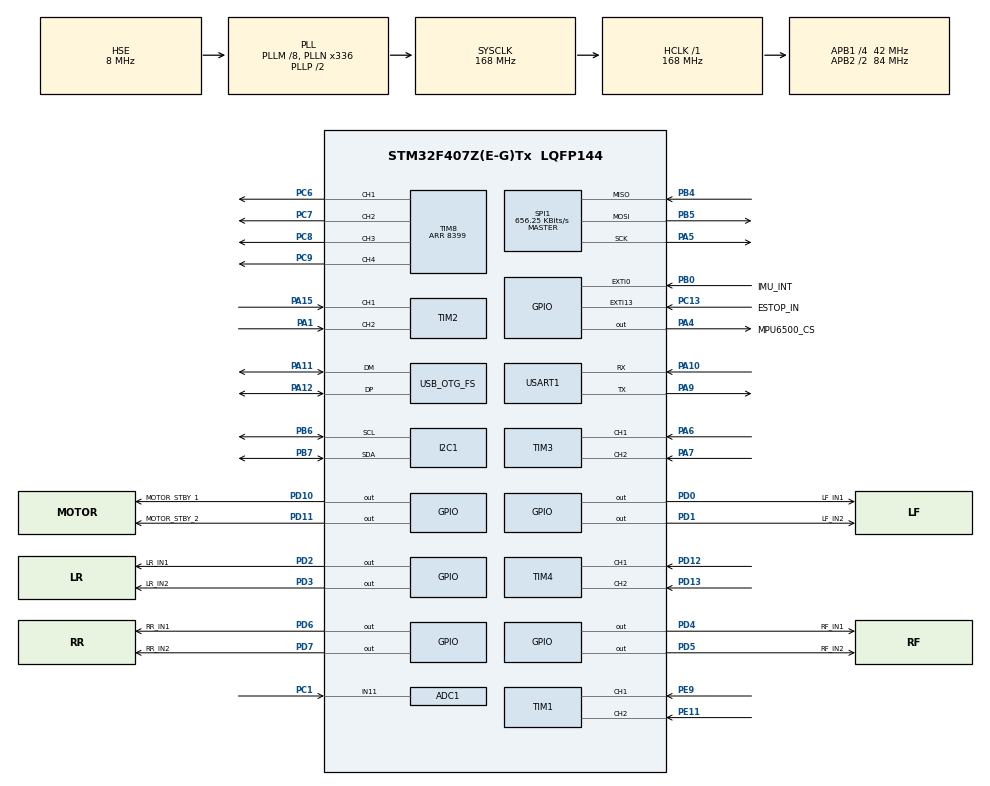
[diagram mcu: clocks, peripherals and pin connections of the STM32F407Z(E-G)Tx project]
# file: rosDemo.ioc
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ADC1.Channel-2\#ChannelRegularConversion=ADC_CHANNEL_11
ADC1.NbrOfConversionFlag=1
ADC1.Rank-2\#ChannelRegularConversion=1
ADC1.SamplingTime-2\#ChannelRegularConversion=ADC_SAMPLETIME_144CYCLES
ADC1.master=1
FREERTOS.Tasks01=systemInitTask,32,256,StartSystemInitTask,Default,NULL,Dynamic,NULL,NULL;motorTask,40,512,StartMotorTask,Default,NULL,Dynamic,NULL,NULL;safetyTask,40,256,StartSafetyTask,Default,NULL,Dynamic,NULL,NULL;imuTask,32,512,StartImuTask,Default,NULL,Dynamic,NULL,NULL;usbRxTask,32,512,StartUsbRxTask,Default,NULL,Dynamic,NULL,NULL;telemetryTask,24,512,StartTelemetryTask,Default,NULL,Dynamic,NULL,NULL;batteryTask,8,256,StartBatteryTask,Default,NULL,Dynamic,NULL,NULL
FREERTOS.configCHECK_FOR_STACK_OVERFLOW=2
FREERTOS.configTOTAL_HEAP_SIZE=32768
FREERTOS.configUSE_MALLOC_FAILED_HOOK=1
IWDG.Prescaler=IWDG_PRESCALER_64
IWDG.Reload=1999
Mcu.Family=STM32F4
Mcu.Name=STM32F407Z(E-G)Tx
Mcu.Package=LQFP144
NVIC.EXTI0_IRQn=true\:6\:0\:true\:false\:true\:true\:true\:true\:true
NVIC.EXTI15_10_IRQn=true\:4\:0\:true\:false\:true\:false\:true\:true\:true
NVIC.OTG_FS_IRQn=true\:5\:0\:false\:false\:true\:true\:false\:true\:true
NVIC.PriorityGroup=NVIC_PRIORITYGROUP_4
NVIC.TIM7_IRQn=true\:15\:0\:false\:false\:true\:false\:false\:true\:true
NVIC.TimeBase=TIM7_IRQn
NVIC.TimeBaseIP=TIM7
PA1.Signal=S_TIM2_CH2
PA10.Mode=Asynchronous
PA10.Signal=USART1_RX
PA11.Mode=Device_Only
PA11.Signal=USB_OTG_FS_DM
PA12.Mode=Device_Only
PA12.Signal=USB_OTG_FS_DP
PA13.Mode=Serial_Wire
PA13.Signal=SYS_JTMS-SWDIO
PA14.Mode=Serial_Wire
PA14.Signal=SYS_JTCK-SWCLK
PA15.Signal=S_TIM2_CH1_ETR
PA4.GPIO_Label=MPU6500_CS
PA4.PinState=GPIO_PIN_SET
PA4.Signal=GPIO_Output
PA5.Mode=Full_Duplex_Master
PA5.Signal=SPI1_SCK
PA6.Signal=S_TIM3_CH1
PA7.Signal=S_TIM3_CH2
PA9.Mode=Asynchronous
PA9.Signal=USART1_TX
PB0.GPIO_Label=IMU_INT
PB0.Signal=GPXTI0
PB4.Mode=Full_Duplex_Master
PB4.Signal=SPI1_MISO
PB5.Mode=Full_Duplex_Master
PB5.Signal=SPI1_MOSI
PB6.Mode=I2C
PB6.Signal=I2C1_SCL
PB7.Mode=I2C
PB7.Signal=I2C1_SDA
PC1.Signal=ADCx_IN11
PC13-ANTI_TAMP.GPIO_Label=ESTOP_IN
PC13-ANTI_TAMP.GPIO_ModeDefaultEXTI=GPIO_MODE_IT_FALLING
PC13-ANTI_TAMP.GPIO_PuPd=GPIO_PULLUP
PC13-ANTI_TAMP.Signal=GPXTI13
PC6.Signal=S_TIM8_CH1
PC7.Signal=S_TIM8_CH2
PC8.Signal=S_TIM8_CH3
PC9.Signal=S_TIM8_CH4
PD0.GPIO_Label=LF_IN1
PD0.Signal=GPIO_Output
PD1.GPIO_Label=LF_IN2
PD1.Signal=GPIO_Output
PD10.GPIO_Label=MOTOR_STBY_1
PD10.Signal=GPIO_Output
PD11.GPIO_Label=MOTOR_STBY_2
PD11.Signal=GPIO_Output
PD12.Signal=S_TIM4_CH1
PD13.Signal=S_TIM4_CH2
PD2.GPIO_Label=LR_IN1
PD2.Signal=GPIO_Output
PD3.GPIO_Label=LR_IN2
PD3.Signal=GPIO_Output
PD4.GPIO_Label=RF_IN1
PD4.Signal=GPIO_Output
PD5.GPIO_Label=RF_IN2
PD5.Signal=GPIO_Output
PD6.GPIO_Label=RR_IN1
PD6.Signal=GPIO_Output
PD7.GPIO_Label=RR_IN2
PD7.Signal=GPIO_Output
PE11.Signal=S_TIM1_CH2
PE9.Signal=S_TIM1_CH1
PH0-OSC_IN.Mode=HSE-External-Oscillator
PH0-OSC_IN.Signal=RCC_OSC_IN
PH1-OSC_OUT.Mode=HSE-External-Oscillator
PH1-OSC_OUT.Signal=RCC_OSC_OUT
ProjectManager.HeapSize=0x200
ProjectManager.StackSize=0x400
ProjectManager.TargetToolchain=CMake
RCC.48MHZClocksFreq_Value=48000000
RCC.AHBFreq_Value=168000000
RCC.APB1CLKDivider=RCC_HCLK_DIV4
RCC.APB1Freq_Value=42000000
RCC.APB1TimFreq_Value=84000000
RCC.APB2CLKDivider=RCC_HCLK_DIV2
RCC.APB2Freq_Value=84000000
RCC.APB2TimFreq_Value=168000000
RCC.CortexFreq_Value=168000000
RCC.HCLKFreq_Value=168000000
RCC.HSE_VALUE=8000000
RCC.HSI_VALUE=16000000
RCC.LSE_VALUE=32768
RCC.PLLM=8
RCC.PLLN=336
RCC.PLLQ=7
RCC.SYSCLKFreq_VALUE=168000000
RCC.SYSCLKSource=RCC_SYSCLKSOURCE_PLLCLK
RCC.VCOOutputFreq_Value=336000000
SH.ADCx_IN11.0=ADC1_IN11,IN11
SH.S_TIM1_CH1.0=TIM1_CH1,Encoder_Interface
SH.S_TIM1_CH2.0=TIM1_CH2,Encoder_Interface
SH.S_TIM2_CH1_ETR.0=TIM2_CH1,Encoder_Interface
SH.S_TIM2_CH2.0=TIM2_CH2,Encoder_Interface
SH.S_TIM3_CH1.0=TIM3_CH1,Encoder_Interface
SH.S_TIM3_CH2.0=TIM3_CH2,Encoder_Interface
SH.S_TIM4_CH1.0=TIM4_CH1,Encoder_Interface
SH.S_TIM4_CH2.0=TIM4_CH2,Encoder_Interface
SH.S_TIM8_CH1.0=TIM8_CH1,PWM Generation1 CH1
SH.S_TIM8_CH2.0=TIM8_CH2,PWM Generation2 CH2
SH.S_TIM8_CH3.0=TIM8_CH3,PWM Generation3 CH3
SH.S_TIM8_CH4.0=TIM8_CH4,PWM Generation4 CH4
SPI1.BaudRatePrescaler=SPI_BAUDRATEPRESCALER_128
SPI1.CalculateBaudRate=656.25 KBits/s
SPI1.Direction=SPI_DIRECTION_2LINES
SPI1.Mode=SPI_MODE_MASTER
SPI1.VirtualType=VM_MASTER
TIM1.EncoderMode=TIM_ENCODERMODE_TI12
TIM1.IC1Filter=6
TIM1.IC2Filter=6
TIM2.EncoderMode=TIM_ENCODERMODE_TI12
TIM2.IC1Filter=6
TIM2.IC2Filter=6
TIM3.EncoderMode=TIM_ENCODERMODE_TI12
TIM3.IC1Filter=6
TIM3.IC2Filter=6
TIM4.EncoderMode=TIM_ENCODERMODE_TI12
TIM4.IC1Filter=6
TIM4.IC2Filter=6
TIM8.Channel-PWM\ Generation1\ CH1=TIM_CHANNEL_1
TIM8.Channel-PWM\ Generation2\ CH2=TIM_CHANNEL_2
TIM8.Channel-PWM\ Generation3\ CH3=TIM_CHANNEL_3
TIM8.Channel-PWM\ Generation4\ CH4=TIM_CHANNEL_4
TIM8.Period=8399
USART1.VirtualMode=VM_ASYNC
USB_DEVICE.CLASS_NAME_FS=CDC
USB_DEVICE.VirtualMode-CDC_FS=Cdc
USB_DEVICE.VirtualModeFS=Cdc_FS
USB_OTG_FS.VirtualMode=Device_Only
VP_FREERTOS_VS_CMSIS_V2.Mode=CMSIS_V2
VP_IWDG_VS_IWDG.Mode=IWDG_Activate
VP_SYS_VS_tim7.Mode=TIM7
VP_TIM8_VS_ClockSourceINT.Mode=Internal
VP_USB_DEVICE_VS_USB_DEVICE_CDC_FS.Mode=CDC_FS
board=custom

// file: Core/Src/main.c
/* USER CODE BEGIN Header */
/**
  ******************************************************************************
  * @file           : main.c
  * @brief          : Main program body
  ******************************************************************************
  * @attention
  *
  * Copyright (c) 2026 STMicroelectronics.
  * All rights reserved.
  *
  * This software is licensed under terms that can be found in the LICENSE file
  * in the root directory of this software component.
  * If no LICENSE file comes with this software, it is provided AS-IS.
  *
  ******************************************************************************
  */
/* USER CODE END Header */
#include "main.h"
#include "cmsis_os.h"
#include "adc.h"
#include "i2c.h"
#include "iwdg.h"
#include "spi.h"
#include "tim.h"
#include "usart.h"
#include "usb_device.h"
#include "gpio.h"

/* USER CODE BEGIN Includes */
#include "board_config.h"
#include "emergency_stop.h"
#include "system_status.h"
/* USER CODE END Includes */

void SystemClock_Config(void);
void MX_FREERTOS_Init(void);

int main(void)
{

  /* MCU Configuration--------------------------------------------------------*/

  /* Reset of all peripherals, Initializes the Flash interface and the Systick. */
  HAL_Init();

  /* USER CODE BEGIN Init */
  SystemStatus_CaptureResetCause();
  Board_ForceMotorSafeState();
  /* USER CODE END Init */

  /* Configure the system clock */
  SystemClock_Config();

  /* USER CODE BEGIN SysInit */
#if defined(DEBUG)
  /* Keep IWDG active while running, but freeze it when a debugger halts CPU. */
  __HAL_DBGMCU_FREEZE_IWDG();
#endif

  /* USER CODE END SysInit */

  /* Initialize all configured peripherals */
  MX_GPIO_Init();
  MX_ADC1_Init();
  MX_SPI1_Init();
  MX_TIM1_Init();
  MX_TIM2_Init();
  MX_TIM3_Init();
  MX_TIM4_Init();
  MX_TIM8_Init();
  MX_USART1_UART_Init();
  MX_IWDG_Init();
  MX_I2C1_Init();
  /* USER CODE BEGIN 2 */
  Board_ForceMotorSafeState();
  EmergencyStop_Init();
  /* USER CODE END 2 */

  /* Init scheduler */
  osKernelInitialize();  /* Call init function for freertos objects (in cmsis_os2.c) */
  MX_FREERTOS_Init();

  /* Start scheduler */
  osKernelStart();

  /* We should never get here as control is now taken by the scheduler */

  /* Infinite loop */
  while (1)
  {

  }
}

void SystemClock_Config(void)
{
  RCC_OscInitTypeDef RCC_OscInitStruct = {0};
  RCC_ClkInitTypeDef RCC_ClkInitStruct = {0};

  /** Configure the main internal regulator output voltage
  */
  __HAL_RCC_PWR_CLK_ENABLE();
  __HAL_PWR_VOLTAGESCALING_CONFIG(PWR_REGULATOR_VOLTAGE_SCALE1);

  /** Initializes the RCC Oscillators according to the specified parameters
  * in the RCC_OscInitTypeDef structure.
  */
  RCC_OscInitStruct.OscillatorType = RCC_OSCILLATORTYPE_LSI|RCC_OSCILLATORTYPE_HSE;
  RCC_OscInitStruct.HSEState = RCC_HSE_ON;
  RCC_OscInitStruct.LSIState = RCC_LSI_ON;
  RCC_OscInitStruct.PLL.PLLState = RCC_PLL_ON;
  RCC_OscInitStruct.PLL.PLLSource = RCC_PLLSOURCE_HSE;
  RCC_OscInitStruct.PLL.PLLM = 8;
  RCC_OscInitStruct.PLL.PLLN = 336;
  RCC_OscInitStruct.PLL.PLLP = RCC_PLLP_DIV2;
  RCC_OscInitStruct.PLL.PLLQ = 7;
  if (HAL_RCC_OscConfig(&RCC_OscInitStruct) != HAL_OK)
  {
    Error_Handler();
  }

  /** Initializes the CPU, AHB and APB buses clocks
  */
  RCC_ClkInitStruct.ClockType = RCC_CLOCKTYPE_HCLK|RCC_CLOCKTYPE_SYSCLK
                              |RCC_CLOCKTYPE_PCLK1|RCC_CLOCKTYPE_PCLK2;
  RCC_ClkInitStruct.SYSCLKSource = RCC_SYSCLKSOURCE_PLLCLK;
  RCC_ClkInitStruct.AHBCLKDivider = RCC_SYSCLK_DIV1;
  RCC_ClkInitStruct.APB1CLKDivider = RCC_HCLK_DIV4;
  RCC_ClkInitStruct.APB2CLKDivider = RCC_HCLK_DIV2;

  if (HAL_RCC_ClockConfig(&RCC_ClkInitStruct, FLASH_LATENCY_5) != HAL_OK)
  {
    Error_Handler();
  }
}

void HAL_TIM_PeriodElapsedCallback(TIM_HandleTypeDef *htim)
{
  if (htim->Instance == TIM7)
  {
    HAL_IncTick();
  }
}

void Error_Handler(void)
{
  /* USER CODE BEGIN Error_Handler_Debug */
  Board_ForceMotorSafeState();
  __disable_irq();
  while (1)
  {
  }
  /* USER CODE END Error_Handler_Debug */
}
#ifdef USE_FULL_ASSERT
/**
  * @brief  Reports the name of the source file and the source line number
  *         where the assert_param error has occurred.
  * @param  file: pointer to the source file name
  * @param  line: assert_param error line source number
  * @retval None
  */
void assert_failed(uint8_t *file, uint32_t line)
{
  /* USER CODE BEGIN 6 */
  (void)file;
  (void)line;
  Board_EmergencyMotorShutdown();
  __disable_irq();
  while (1)
  {
  }
  /* USER CODE END 6 */
}
#endif /* USE_FULL_ASSERT */

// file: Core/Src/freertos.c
/* USER CODE BEGIN Header */
/**
  ******************************************************************************
  * File Name          : freertos.c
  * Description        : Code for freertos applications
  ******************************************************************************
  * @attention
  *
  * Copyright (c) 2026 STMicroelectronics.
  * All rights reserved.
  *
  * This software is licensed under terms that can be found in the LICENSE file
  * in the root directory of this software component.
  * If no LICENSE file comes with this software, it is provided AS-IS.
  *
  ******************************************************************************
  */
/* USER CODE END Header */

#include "FreeRTOS.h"
#include "task.h"
#include "main.h"
#include "cmsis_os.h"

/* USER CODE BEGIN Includes */
#include <math.h>
#include "board_config.h"
#include "battery_config.h"
#include "battery_monitor.h"
#include "chassis_controller.h"
#include "chassis_config.h"
#include "chassis_ground_test.h"
#include "chassis_motion_test.h"
#include "chassis_runtime.h"
#include "chassis_runtime_test.h"
#include "chassis_usb_protocol.h"
#include "debug_log.h"
#include "control_timing.h"
#include "motion_trace.h"
#include "emergency_stop.h"
#include "encoder_service.h"
#include "fault_manager.h"
#include "fault_injection_test.h"
#include "four_wheel_speed_control_test.h"
#include "imu_config.h"
#include "imu_bias_storage.h"
#include "imu_calibration_guard.h"
#include "imu_service.h"
#include "imu_static_test.h"
#include "imu_spi_identity_test.h"
#include "motor_characterization_test.h"
#include "motor_driver.h"
#include "motor_open_loop_test.h"
#include "motor_speed_control_test.h"
#include "usb_cdc_transport.h"
#include "watchdog_service.h"
#include "wheel_speed_estimator.h"
#if CHASSIS_CONTROL_REVISION >= 203
#include "chassis_yaw_feedback.h"
#endif
/* USER CODE END Includes */

/* Definitions for systemInitTask */
osThreadId_t systemInitTaskHandle;
const osThreadAttr_t systemInitTask_attributes = {
  .name = "systemInitTask",
  .stack_size = 256 * 4,
  .priority = (osPriority_t) osPriorityAboveNormal,
};
/* Definitions for motorTask */
osThreadId_t motorTaskHandle;
const osThreadAttr_t motorTask_attributes = {
  .name = "motorTask",
  .stack_size = 512 * 4,
  .priority = (osPriority_t) osPriorityHigh,
};
/* Definitions for safetyTask */
osThreadId_t safetyTaskHandle;
const osThreadAttr_t safetyTask_attributes = {
  .name = "safetyTask",
  .stack_size = 256 * 4,
  .priority = (osPriority_t) osPriorityHigh,
};
/* Definitions for imuTask */
osThreadId_t imuTaskHandle;
const osThreadAttr_t imuTask_attributes = {
  .name = "imuTask",
  .stack_size = 512 * 4,
  .priority = (osPriority_t) osPriorityAboveNormal,
};
/* Definitions for usbRxTask */
osThreadId_t usbRxTaskHandle;
const osThreadAttr_t usbRxTask_attributes = {
  .name = "usbRxTask",
  .stack_size = 512 * 4,
  .priority = (osPriority_t) osPriorityAboveNormal,
};
/* Definitions for telemetryTask */
osThreadId_t telemetryTaskHandle;
const osThreadAttr_t telemetryTask_attributes = {
  .name = "telemetryTask",
  .stack_size = 512 * 4,
  .priority = (osPriority_t) osPriorityNormal,
};
/* Definitions for batteryTask */
osThreadId_t batteryTaskHandle;
const osThreadAttr_t batteryTask_attributes = {
  .name = "batteryTask",
  .stack_size = 256 * 4,
  .priority = (osPriority_t) osPriorityLow,
};

void StartSystemInitTask(void *argument);
void StartMotorTask(void *argument);
void StartSafetyTask(void *argument);
void StartImuTask(void *argument);
void StartUsbRxTask(void *argument);
void StartTelemetryTask(void *argument);
void StartBatteryTask(void *argument);

extern void MX_USB_DEVICE_Init(void);
void MX_FREERTOS_Init(void); /* (MISRA C 2004 rule 8.1) */

/* Hook prototypes */
void vApplicationStackOverflowHook(xTaskHandle xTask, signed char *pcTaskName);
void vApplicationMallocFailedHook(void);

/* USER CODE BEGIN 4 */
void vApplicationAssertHook(void)
{
  /* The motor shutdown must precede the permanent assert halt. */
  Board_EmergencyMotorShutdown();
  taskDISABLE_INTERRUPTS();
  for (;;)
  {
  }
}

void vApplicationStackOverflowHook(xTaskHandle xTask, signed char *pcTaskName)
{
  (void)xTask;
  (void)pcTaskName;
  Board_EmergencyMotorShutdown();
  taskDISABLE_INTERRUPTS();
  for (;;)
  {
  }
}
/* USER CODE END 4 */

/* USER CODE BEGIN 5 */
void vApplicationMallocFailedHook(void)
{
  Board_EmergencyMotorShutdown();
  taskDISABLE_INTERRUPTS();
  for (;;)
  {
  }
}
/* USER CODE END 5 */

void MX_FREERTOS_Init(void) {
  /* USER CODE BEGIN Init */
  if (!DebugLog_Init())
  {
    Error_Handler();
  }
  DebugLog_PrintBootBanner();
  UsbCdcTransport_Init();
  ChassisUsbProtocol_Init(HAL_GetTick());
  FaultManager_Init(HAL_GetTick());
  FaultInjectionTest_Init();
  WatchdogService_Init(HAL_GetTick());
  /* USER CODE END Init */

  /* Create the thread(s) */
  /* creation of systemInitTask */
  systemInitTaskHandle = osThreadNew(StartSystemInitTask, NULL, &systemInitTask_attributes);

  /* creation of motorTask */
  motorTaskHandle = osThreadNew(StartMotorTask, NULL, &motorTask_attributes);

  /* creation of safetyTask */
  safetyTaskHandle = osThreadNew(StartSafetyTask, NULL, &safetyTask_attributes);

  /* creation of imuTask */
  imuTaskHandle = osThreadNew(StartImuTask, NULL, &imuTask_attributes);

  /* creation of usbRxTask */
  usbRxTaskHandle = osThreadNew(StartUsbRxTask, NULL, &usbRxTask_attributes);

  /* creation of telemetryTask */
  telemetryTaskHandle = osThreadNew(StartTelemetryTask, NULL, &telemetryTask_attributes);

  /* creation of batteryTask */
  batteryTaskHandle = osThreadNew(StartBatteryTask, NULL, &batteryTask_attributes);

}

void StartSystemInitTask(void *argument)
{
  /* init code for USB_DEVICE */
  MX_USB_DEVICE_Init();
  /* USER CODE BEGIN StartSystemInitTask */
  UsbCdcTransport_EnableSofMonitor();
  FaultManager_MarkSystemInitComplete(HAL_GetTick());
  DEBUG_LOG_INFO("USB initialization completed");
  DEBUG_LOG_INFO("systemInitTask completed; exiting one-shot task");
  osThreadExit();
  /* USER CODE END StartSystemInitTask */
}

void StartMotorTask(void *argument)
{
  /* USER CODE BEGIN StartMotorTask */
  if (!DebugLog_RegisterCurrentTaskNonBlocking()) { Error_Handler(); }
  uint32_t next_wake_tick;

  DEBUG_LOG_INFO("motorTask started");
  if (!MotorDriver_Init())
  {
    DEBUG_LOG_ERROR("Motor driver initialization failed");
    Error_Handler();
  }
  DEBUG_LOG_INFO("Motor driver ready: TIM8 PWM=20kHz duty=0, D24A STBY/PD10 disabled");

  if (!EncoderService_Init())
  {
    DEBUG_LOG_ERROR("Encoder initialization failed");
    Error_Handler();
  }
  DEBUG_LOG_INFO("Encoder counters started: LF=TIM1/16-bit LR=TIM2/32-bit RF=TIM3/16-bit RR=TIM4/16-bit; d/total forward-normalized");

  if (!WheelSpeedEstimator_Init(HAL_GetTick()))
  {
    DEBUG_LOG_ERROR("Wheel speed estimator initialization failed");
    Error_Handler();
  }
  DEBUG_LOG_INFO("Wheel speed ready: %lu ms sample, %lu ms LPF, %lu ms stop timeout",
                 (unsigned long)CHASSIS_SPEED_SAMPLE_PERIOD_MS,
                 (unsigned long)CHASSIS_SPEED_FILTER_TIME_CONSTANT_MS,
                 (unsigned long)CHASSIS_SPEED_STOP_TIMEOUT_MS);
  ChassisController_Init();
  DEBUG_LOG_INFO("Chassis controller ready: +vx=forward +wz=CCW-left, command timeout=250 ms");
  (void)ChassisRuntime_Init(HAL_GetTick());
  MotorOpenLoopTest_Init();
#if CHASSIS_CONTROL_V2
  ControlTiming_EnableCycleCounter();
#endif

  next_wake_tick = osKernelGetTickCount();
  /* Infinite loop */
  for(;;)
  {
    ControlTiming_RecordStart(CONTROL_TIMING_MOTOR, osKernelGetTickCount());
#if CHASSIS_CONTROL_V2
    const uint32_t loop_cycles=ControlTiming_ReadCycles();
#endif
    if (FaultInjectionTest_ShouldReportHeartbeat(FAULT_MANAGER_TASK_MOTOR))
    {
      FaultManager_Heartbeat(FAULT_MANAGER_TASK_MOTOR, HAL_GetTick());
    }
    const uint32_t control_now_ms=HAL_GetTick();
#if CHASSIS_CONTROL_V2
    uint32_t section_cycles=ControlTiming_ReadCycles();
#endif
    EncoderService_Update();
    WheelSpeedEstimator_Update(control_now_ms);
#if CHASSIS_CONTROL_V2
    ControlTiming_RecordSection(CONTROL_SECTION_ACQUISITION,
      ControlTiming_ReadCycles()-section_cycles,SystemCoreClock);
    section_cycles=ControlTiming_ReadCycles();
#endif
#if CHASSIS_CONTROL_REVISION >= 203
    {
      static ImuServiceSnapshot yaw_imu;
      static WheelSpeedState yaw_wheels[ENCODER_WHEEL_COUNT];
      static MotorDriverStatus yaw_motor;
      const bool got_imu=ImuService_GetSnapshot(&yaw_imu);
      const bool valid_imu=got_imu && yaw_imu.valid &&
        yaw_imu.state==IMU_SERVICE_STATE_READY && yaw_imu.consecutive_errors==0U;
      const float accel_squared=yaw_imu.accel_x_m_s2*yaw_imu.accel_x_m_s2+
        yaw_imu.accel_y_m_s2*yaw_imu.accel_y_m_s2+yaw_imu.accel_z_m_s2*yaw_imu.accel_z_m_s2;
      bool stationary=valid_imu && isfinite(accel_squared) &&
        !ImuStaticTest_IsActive() && !MotorOpenLoopTest_IsActive() &&
        accel_squared>=81.0f && accel_squared<=116.64f &&
        MotorDriver_GetStatus(&yaw_motor) && !yaw_motor.standby_enabled &&
        WheelSpeedEstimator_GetSnapshot(yaw_wheels);
      if (stationary) {
        for (uint32_t w=0U;w<ENCODER_WHEEL_COUNT;++w) {
          if (!yaw_wheels[w].valid || yaw_wheels[w].quality_flags!=0U ||
              (uint32_t)(control_now_ms-yaw_wheels[w].sample_time_ms)>40U ||
              yaw_wheels[w].delta_counts!=0 ||
              !isfinite(yaw_wheels[w].filtered_counts_per_second) ||
              fabsf(yaw_wheels[w].filtered_counts_per_second)>5.0f) stationary=false;
        }
      }
      ChassisYawFeedback_Observe(control_now_ms,stationary,valid_imu,
        yaw_imu.angular_velocity_z_rad_s,yaw_imu.sample_time_ms,
        yaw_imu.sample_count,yaw_imu.acquisition_epoch);
    }
#endif
    ChassisRuntime_Process(control_now_ms,
                           MotorOpenLoopTest_IsActive() ||
                           ImuStaticTest_IsActive());
    MotorOpenLoopTest_Process();
#if CHASSIS_CONTROL_V2
    ControlTiming_RecordSection(CONTROL_SECTION_CONTROLLER,
      ControlTiming_ReadCycles()-section_cycles,SystemCoreClock);
    section_cycles=ControlTiming_ReadCycles();
#endif
    MotionTrace_Record(HAL_GetTick());
#if CHASSIS_CONTROL_V2
    ControlTiming_RecordSection(CONTROL_SECTION_TRACE,
      ControlTiming_ReadCycles()-section_cycles,SystemCoreClock);
    ControlTiming_RecordExecution(CONTROL_TIMING_MOTOR,
      ControlTiming_ReadCycles()-loop_cycles,SystemCoreClock);
#endif
    next_wake_tick = ControlTiming_NextWake(CONTROL_TIMING_MOTOR,
      next_wake_tick, osKernelGetTickCount(), CHASSIS_SPEED_SAMPLE_PERIOD_MS);
    (void)osDelayUntil(next_wake_tick);
  }
  /* USER CODE END StartMotorTask */
}

void StartSafetyTask(void *argument)
{
  /* USER CODE BEGIN StartSafetyTask */
  if (!DebugLog_RegisterCurrentTaskNonBlocking()) { Error_Handler(); }
  uint32_t next_wake_tick;

  DEBUG_LOG_INFO("safetyTask started");
  next_wake_tick = osKernelGetTickCount();
  /* Infinite loop */
  for(;;)
  {
    ControlTiming_RecordStart(CONTROL_TIMING_SAFETY, osKernelGetTickCount());
#if CHASSIS_CONTROL_V2
    const uint32_t loop_cycles=ControlTiming_ReadCycles();
#endif
    const uint32_t now_ms = HAL_GetTick();
    /* Single safetyTask instance: its private scratch snapshots need not
     * occupy the task's 1 KiB stack across every nested safety/log call.
     * No pointer escapes this task; successful getters overwrite all fields. */
    static ChassisRuntimeStatus runtime;
    static ChassisControllerStatus controller;
    static float health_measured_counts_per_second[MOTOR_DRIVER_WHEEL_COUNT];

    if (FaultInjectionTest_ShouldReportHeartbeat(FAULT_MANAGER_TASK_SAFETY))
    {
      FaultManager_Heartbeat(FAULT_MANAGER_TASK_SAFETY, now_ms);
    }
    taskENTER_CRITICAL();
    const bool observed=ChassisRuntime_GetStatus(&runtime) &&
                        ChassisController_GetStatus(&controller);
    taskEXIT_CRITICAL();
    if (observed)
    {
      FaultInjectionTest_FilterMeasuredSpeed(
        controller.measured_counts_per_second,
        health_measured_counts_per_second);
#if CHASSIS_CONTROL_V2
      FaultManager_ObserveMotionWithModes(now_ms,
                                 runtime.state == CHASSIS_RUNTIME_STATE_ACTIVE,
                                 controller.targets.counts_per_second,
                                 health_measured_counts_per_second,
                                 controller.output_permille,controller.pivot_mask);
#else
      FaultManager_ObserveMotion(now_ms,
        runtime.state==CHASSIS_RUNTIME_STATE_ACTIVE,controller.targets.counts_per_second,
        health_measured_counts_per_second,controller.output_permille);
#endif
    }
    else
    {
      FaultManager_ObserveMotion(now_ms, false, NULL, NULL, NULL);
    }
    FaultManager_Process(now_ms);
    if (FaultManager_HasCriticalFault())
    {
      ChassisRuntime_LatchHealthFault(now_ms);
    }
    ChassisRuntime_SafetyProcess(now_ms);
    ChassisController_SafetyProcess(now_ms);
    MotorOpenLoopTest_SafetyProcess();
    if (EmergencyStop_TakeTripNotice())
    {
      DEBUG_LOG_ERROR("ESTOP latched: motor outputs disabled; MCU reset required");
    }
    WatchdogService_Process(now_ms);
#if CHASSIS_CONTROL_V2
    ControlTiming_RecordExecution(CONTROL_TIMING_SAFETY,
      ControlTiming_ReadCycles()-loop_cycles,SystemCoreClock);
#endif
    next_wake_tick = ControlTiming_NextWake(CONTROL_TIMING_SAFETY,
      next_wake_tick, osKernelGetTickCount(), 10U);
    (void)osDelayUntil(next_wake_tick);
  }
  /* USER CODE END StartSafetyTask */
}

void StartImuTask(void *argument)
{
  /* USER CODE BEGIN StartImuTask */
  if (!DebugLog_RegisterCurrentTaskNonBlocking()) { Error_Handler(); }
#if !IMU_SPI_ID_PROBE_ONLY && IMU_CALIBRATION_ENABLED
  ImuServiceSnapshot imu_snapshot;
  bool bias_restore_attempted = false;
#endif
#if !IMU_USE_MPU6500_SPI
  uint32_t next_wake_tick;
#endif

  DEBUG_LOG_INFO("imuTask started");
  ImuStaticTest_Init();
#if IMU_SPI_ID_PROBE_ONLY
  ImuSpiIdentityTest_Init(HAL_GetTick());
#else
#if IMU_CALIBRATION_ENABLED
  ImuBiasStorage_Init();
#endif
  ImuService_Init(HAL_GetTick());
#endif
#if !IMU_USE_MPU6500_SPI
  next_wake_tick = osKernelGetTickCount();
#endif
  /* Infinite loop */
  for(;;)
  {
    const uint32_t now_ms = HAL_GetTick();

#if IMU_SPI_ID_PROBE_ONLY
    ImuSpiIdentityTest_Update(now_ms);
#else
    ImuService_Update(now_ms);
#if IMU_CALIBRATION_ENABLED
    if (ImuService_GetSnapshot(&imu_snapshot))
    {
      if ((!bias_restore_attempted) &&
          (imu_snapshot.state == IMU_SERVICE_STATE_READY))
      {
        int32_t bias_x_milli_raw;
        int32_t bias_y_milli_raw;
        int32_t bias_z_milli_raw;
        int16_t calibration_temp_centi_c;

        bias_restore_attempted = true;
        if (ImuBiasStorage_LoadMilliRaw(&bias_x_milli_raw,
                                        &bias_y_milli_raw,
                                        &bias_z_milli_raw,
                                &calibration_temp_centi_c))
        {
          if (ImuService_SetGyroBiasMilliRaw(bias_x_milli_raw,
                                              bias_y_milli_raw,
                                              bias_z_milli_raw))
          {
            ImuService_SetCalibrationTemperatureCentiC(
              calibration_temp_centi_c);
            DEBUG_LOG_INFO(
              "IMU gyro bias restored from Flash: milli_raw=[%ld,%ld,%ld] calibration_temp=%d.%02uC",
              (long)bias_x_milli_raw,
              (long)bias_y_milli_raw,
              (long)bias_z_milli_raw,
              (int)(calibration_temp_centi_c / 100),
              (unsigned int)((calibration_temp_centi_c < 0) ?
                -(calibration_temp_centi_c % 100) :
                 (calibration_temp_centi_c % 100)));
          }
          else
          {
            DEBUG_LOG_ERROR(
              "IMU gyro bias Flash record passed storage checks but service rejected it");
          }
        }
      }
      ImuStaticTest_ProcessSample(&imu_snapshot, HAL_GetTick());
      {
        int64_t stationary_wheel_counts[ENCODER_WHEEL_COUNT];
        const bool stationary_allowed =
          ImuCalibrationGuard_Read(stationary_wheel_counts, false);
        ImuService_UpdateStationaryBias(stationary_allowed,
                                        ImuStaticTest_IsActive(),
                                        HAL_GetTick());
      }
    }
#endif
#endif
    if (FaultInjectionTest_ShouldReportHeartbeat(FAULT_MANAGER_TASK_IMU))
    {
      FaultManager_Heartbeat(FAULT_MANAGER_TASK_IMU, now_ms);
    }

#if IMU_USE_MPU6500_SPI
    /* DRDY wakes this task immediately. A bounded wait keeps initialization,
     * missing-INT detection, calibration timeout and health heartbeat alive. */
    (void)ulTaskNotifyTake(pdTRUE, pdMS_TO_TICKS(IMU_SAMPLE_PERIOD_MS));
#else
    next_wake_tick += IMU_SAMPLE_PERIOD_MS;
    if ((int32_t)(osKernelGetTickCount() - next_wake_tick) >= 0)
    {
      next_wake_tick = osKernelGetTickCount() + IMU_SAMPLE_PERIOD_MS;
    }
    (void)osDelayUntil(next_wake_tick);
#endif
  }
  /* USER CODE END StartImuTask */
}

void StartUsbRxTask(void *argument)
{
  /* USER CODE BEGIN StartUsbRxTask */
  uint32_t next_wake_tick;

  DEBUG_LOG_INFO("usbRxTask started");
  next_wake_tick = osKernelGetTickCount();
  /* Infinite loop */
  for(;;)
  {
    if (FaultInjectionTest_ShouldReportHeartbeat(FAULT_MANAGER_TASK_USB_RX))
    {
      FaultManager_Heartbeat(FAULT_MANAGER_TASK_USB_RX, HAL_GetTick());
    }
    ChassisUsbProtocol_Process(HAL_GetTick());
    next_wake_tick += 2U;
    (void)osDelayUntil(next_wake_tick);
  }
  /* USER CODE END StartUsbRxTask */
}

void StartTelemetryTask(void *argument)
{
  /* USER CODE BEGIN StartTelemetryTask */
  EncoderState encoder_states[ENCODER_WHEEL_COUNT];
  WheelSpeedState speed_states[ENCODER_WHEEL_COUNT];
#if !IMU_SPI_ID_PROBE_ONLY
  ImuServiceSnapshot imu_snapshot;
#endif
  char encoder_totals[ENCODER_WHEEL_COUNT][DEBUG_LOG_INT64_TEXT_SIZE];
#if !IMU_SPI_ID_PROBE_ONLY
  uint32_t next_imu_log_ms;
#endif
  uint32_t next_wake_tick;

  DEBUG_LOG_INFO("telemetryTask started");
  uint32_t next_control_log_ms = HAL_GetTick() + 1000U;
#if !IMU_SPI_ID_PROBE_ONLY
  next_imu_log_ms = HAL_GetTick() + IMU_VALID_LOG_PERIOD_MS;
#endif
  next_wake_tick = osKernelGetTickCount();
  /* Infinite loop */
  for(;;)
  {
    const uint32_t now_ms = HAL_GetTick();

    if (FaultInjectionTest_ShouldReportHeartbeat(
          FAULT_MANAGER_TASK_TELEMETRY))
    {
      FaultManager_Heartbeat(FAULT_MANAGER_TASK_TELEMETRY, now_ms);
    }
    /* USER-owned logging service: USB task never waits for polling UART.
     * Drain even when routine encoder diagnostics are suppressed. */
    DebugLog_ProcessDeferred(4U);
    if (MotionTrace_ProcessDump())
    {
      next_wake_tick = osKernelGetTickCount() + 200U;
      (void)osDelayUntil(next_wake_tick);
      continue;
    }
    if ((int32_t)(now_ms - next_control_log_ms) >= 0)
    {
      ControlTimingStatus motor_timing, safety_timing;
      (void)ControlTiming_GetStatus(CONTROL_TIMING_MOTOR, &motor_timing);
      (void)ControlTiming_GetStatus(CONTROL_TIMING_SAFETY, &safety_timing);
      DEBUG_LOG_INFO(
        "CTRL TIMING: motor_dt=%lu..%lu safety_dt=%lu..%lu overrun=%lu/%lu log_drop=%lu stack_free=%lu/%lu",
        (unsigned long)motor_timing.period_min_ms,
        (unsigned long)motor_timing.period_max_ms,
        (unsigned long)safety_timing.period_min_ms,
        (unsigned long)safety_timing.period_max_ms,
        (unsigned long)motor_timing.overrun_count,
        (unsigned long)safety_timing.overrun_count,
        (unsigned long)DebugLog_GetDeferredDroppedCount(),
        (unsigned long)osThreadGetStackSpace(motorTaskHandle),
        (unsigned long)osThreadGetStackSpace(safetyTaskHandle));
      next_control_log_ms = now_ms + 1000U;
#if CHASSIS_CONTROL_V2
      ControlSectionTiming acquisition,control,trace;
      (void)ControlTiming_GetSection(CONTROL_SECTION_ACQUISITION,&acquisition);
      (void)ControlTiming_GetSection(CONTROL_SECTION_CONTROLLER,&control);
      (void)ControlTiming_GetSection(CONTROL_SECTION_TRACE,&trace);
      DEBUG_LOG_INFO("CTRL EXEC us max: motor=%lu safety=%lu acquire=%lu control=%lu trace=%lu",
        (unsigned long)motor_timing.execution_max_us,(unsigned long)safety_timing.execution_max_us,
        (unsigned long)acquisition.max_us,(unsigned long)control.max_us,(unsigned long)trace.max_us);
      static ChassisRunMetrics metrics;
      static ChassisControllerStatus control_status;
#if CHASSIS_CONTROL_REVISION >= 202
      /* UART output above can span a motor update. Copy a coherent pair and
       * sample time after it; the loop-entry time is too old for this age. */
      uint32_t diagnostic_now_ms;
      taskENTER_CRITICAL();
      const bool diagnostic_valid=ChassisController_GetRunMetrics(&metrics) &&
                                  ChassisController_GetStatus(&control_status);
      diagnostic_now_ms=HAL_GetTick();
      taskEXIT_CRITICAL();
      if (diagnostic_valid) {
#else
      if (ChassisController_GetRunMetrics(&metrics) && ChassisController_GetStatus(&control_status)) {
#endif
        uint32_t rms[4]={0};
        for (uint32_t w=0U;w<4U;++w)
          if (metrics.wheel[w].samples!=0U)
            rms[w]=(uint32_t)sqrtf(metrics.wheel[w].squared_error_sum/(float)metrics.wheel[w].samples);
        DEBUG_LOG_INFO("CTRL V2 gen=%lu n=%lu feedback=%lu age=%lu mode=%lu scale_x1000=%lu rms=%lu/%lu/%lu/%lu zero_max_ms=%lu/%lu/%lu/%lu",
          (unsigned long)metrics.generation,(unsigned long)metrics.samples,
          (unsigned long)control_status.feedback_sequence,
#if CHASSIS_CONTROL_REVISION >= 202
          (unsigned long)(diagnostic_now_ms-control_status.feedback_time_ms),
#else
          (unsigned long)(now_ms-control_status.feedback_time_ms),
#endif
          (unsigned long)control_status.pivot_mask,(unsigned long)(control_status.targets.scale*1000),
          (unsigned long)rms[0],(unsigned long)rms[1],(unsigned long)rms[2],(unsigned long)rms[3],
          (unsigned long)metrics.wheel[0].longest_zero_net_count_ms,
          (unsigned long)metrics.wheel[1].longest_zero_net_count_ms,
          (unsigned long)metrics.wheel[2].longest_zero_net_count_ms,
          (unsigned long)metrics.wheel[3].longest_zero_net_count_ms);
      }
#if CHASSIS_CONTROL_REVISION >= 203
      {
        ChassisYawFeedback yaw={0}; YawRateControlState state={0};
        (void)ChassisYawFeedback_Get(&yaw); (void)ChassisRuntime_GetYawControl(&state);
        DEBUG_LOG_INFO("YAW3 ready=%u valid=%u bias_urad=%ld rate_mrad=%ld ref_mrad=%ld correction_mrad=%ld i_mrad=%ld warm=%lu inhibit=%u",
          (unsigned)yaw.ready,(unsigned)yaw.valid,(long)(yaw.bias_rad_s*1000000.0f),
          (long)(yaw.rate_rad_s*1000.0f),(long)(state.reference*1000.0f),
          (long)(state.correction*1000.0f),(long)(state.integral*1000.0f),
          (unsigned long)state.warm_ms,(unsigned)state.inhibited);
      }
#endif
#endif
    }
    if (MotorCharacterizationTest_IsActive() ||
        MotorSpeedControlTest_IsActive() ||
        FourWheelSpeedControlTest_IsActive() ||
        ChassisMotionTest_IsActive() ||
        ChassisGroundTest_IsActive() ||
        ChassisRuntimeTest_IsActive())
    {
      next_wake_tick += 200U;
      (void)osDelayUntil(next_wake_tick);
      continue;
    }

    if (EncoderService_GetSnapshot(encoder_states))
    {
      for (uint32_t wheel = 0U; wheel < ENCODER_WHEEL_COUNT; ++wheel)
      {
        DebugLog_FormatInt64(encoder_states[wheel].accumulated_count,
                             encoder_totals[wheel]);
      }

      DEBUG_LOG_INFO(
        "ENC L: LF raw=%lu d=%ld total=%s dir=%s | LR raw=%lu d=%ld total=%s dir=%s",
        (unsigned long)encoder_states[ENCODER_WHEEL_LF].raw_count,
        (long)encoder_states[ENCODER_WHEEL_LF].delta,
        encoder_totals[ENCODER_WHEEL_LF],
        EncoderService_GetDirectionName(encoder_states[ENCODER_WHEEL_LF].direction),
        (unsigned long)encoder_states[ENCODER_WHEEL_LR].raw_count,
        (long)encoder_states[ENCODER_WHEEL_LR].delta,
        encoder_totals[ENCODER_WHEEL_LR],
        EncoderService_GetDirectionName(encoder_states[ENCODER_WHEEL_LR].direction));
      DEBUG_LOG_INFO(
        "ENC R: RF raw=%lu d=%ld total=%s dir=%s | RR raw=%lu d=%ld total=%s dir=%s",
        (unsigned long)encoder_states[ENCODER_WHEEL_RF].raw_count,
        (long)encoder_states[ENCODER_WHEEL_RF].delta,
        encoder_totals[ENCODER_WHEEL_RF],
        EncoderService_GetDirectionName(encoder_states[ENCODER_WHEEL_RF].direction),
        (unsigned long)encoder_states[ENCODER_WHEEL_RR].raw_count,
        (long)encoder_states[ENCODER_WHEEL_RR].delta,
        encoder_totals[ENCODER_WHEEL_RR],
        EncoderService_GetDirectionName(encoder_states[ENCODER_WHEEL_RR].direction));
    }

    if (WheelSpeedEstimator_GetSnapshot(speed_states))
    {
      DEBUG_LOG_INFO(
        "SPD L: LF dc=%ld cps=%ld rpm_x10=%ld mmps=%ld stop=%u | LR dc=%ld cps=%ld rpm_x10=%ld mmps=%ld stop=%u",
        (long)speed_states[ENCODER_WHEEL_LF].delta_counts,
        (long)speed_states[ENCODER_WHEEL_LF].filtered_counts_per_second,
        (long)(speed_states[ENCODER_WHEEL_LF].wheel_rpm * 10.0f),
        (long)(speed_states[ENCODER_WHEEL_LF].wheel_linear_velocity_m_s * 1000.0f),
        speed_states[ENCODER_WHEEL_LF].stopped ? 1U : 0U,
        (long)speed_states[ENCODER_WHEEL_LR].delta_counts,
        (long)speed_states[ENCODER_WHEEL_LR].filtered_counts_per_second,
        (long)(speed_states[ENCODER_WHEEL_LR].wheel_rpm * 10.0f),
        (long)(speed_states[ENCODER_WHEEL_LR].wheel_linear_velocity_m_s * 1000.0f),
        speed_states[ENCODER_WHEEL_LR].stopped ? 1U : 0U);
      DEBUG_LOG_INFO(
        "SPD R: RF dc=%ld cps=%ld rpm_x10=%ld mmps=%ld stop=%u | RR dc=%ld cps=%ld rpm_x10=%ld mmps=%ld stop=%u",
        (long)speed_states[ENCODER_WHEEL_RF].delta_counts,
        (long)speed_states[ENCODER_WHEEL_RF].filtered_counts_per_second,
        (long)(speed_states[ENCODER_WHEEL_RF].wheel_rpm * 10.0f),
        (long)(speed_states[ENCODER_WHEEL_RF].wheel_linear_velocity_m_s * 1000.0f),
        speed_states[ENCODER_WHEEL_RF].stopped ? 1U : 0U,
        (long)speed_states[ENCODER_WHEEL_RR].delta_counts,
        (long)speed_states[ENCODER_WHEEL_RR].filtered_counts_per_second,
        (long)(speed_states[ENCODER_WHEEL_RR].wheel_rpm * 10.0f),
        (long)(speed_states[ENCODER_WHEEL_RR].wheel_linear_velocity_m_s * 1000.0f),
        speed_states[ENCODER_WHEEL_RR].stopped ? 1U : 0U);
    }

#if !IMU_SPI_ID_PROBE_ONLY
    if ((!ImuStaticTest_IsActive()) &&
        ((int32_t)(now_ms - next_imu_log_ms) >= 0) &&
        ImuService_GetSnapshot(&imu_snapshot))
    {
      if (imu_snapshot.valid)
      {
        DEBUG_LOG_INFO(
          "IMU RAW: a=[%d,%d,%d] temp=%d g=[%d,%d,%d] samples=%lu errors=%lu",
          (int)imu_snapshot.accel_x_raw,
          (int)imu_snapshot.accel_y_raw,
          (int)imu_snapshot.accel_z_raw,
          (int)imu_snapshot.temperature_raw,
          (int)imu_snapshot.gyro_x_raw,
          (int)imu_snapshot.gyro_y_raw,
          (int)imu_snapshot.gyro_z_raw,
          (unsigned long)imu_snapshot.sample_count,
          (unsigned long)imu_snapshot.read_error_count);
        DEBUG_LOG_INFO(
          "IMU SI: a_mmps2=[%ld,%ld,%ld] w_mrads=[%ld,%ld,%ld] temp_mC=%ld bias=%u",
          (long)(imu_snapshot.accel_x_m_s2 * 1000.0f),
          (long)(imu_snapshot.accel_y_m_s2 * 1000.0f),
          (long)(imu_snapshot.accel_z_m_s2 * 1000.0f),
          (long)(imu_snapshot.angular_velocity_x_rad_s * 1000.0f),
          (long)(imu_snapshot.angular_velocity_y_rad_s * 1000.0f),
          (long)(imu_snapshot.angular_velocity_z_rad_s * 1000.0f),
          (long)(imu_snapshot.temperature_c * 1000.0f),
          imu_snapshot.gyro_bias_valid ? 1U : 0U);
#if IMU_USE_MPU6500_SPI
        ImuStaticTestStatus calibration;
        (void)ImuStaticTest_GetStatus(&calibration);
        DEBUG_LOG_INFO(
          "IMU QUALITY: epoch=%lu drdy=%lu missed=%lu race=%lu timeout=%lu cal=%u persist=%u",
          (unsigned long)imu_snapshot.acquisition_epoch,
          (unsigned long)imu_snapshot.data_ready_count,
          (unsigned long)imu_snapshot.missed_samples,
          (unsigned long)imu_snapshot.read_races,
          (unsigned long)imu_snapshot.data_ready_timeouts,
          (unsigned int)calibration.result,
          (unsigned int)calibration.persistence);
#endif
        next_imu_log_ms = now_ms + IMU_VALID_LOG_PERIOD_MS;
      }
      else
      {
        DEBUG_LOG_WARN(
          "IMU status=%s WHO_AM_I=0x%02X samples=%lu errors=%lu",
          ImuService_StateToString(imu_snapshot.state),
          (unsigned int)imu_snapshot.who_am_i,
          (unsigned long)imu_snapshot.sample_count,
          (unsigned long)imu_snapshot.read_error_count);
        next_imu_log_ms = now_ms + IMU_INVALID_LOG_PERIOD_MS;
      }
    }
#endif

    next_wake_tick += 200U;
    (void)osDelayUntil(next_wake_tick);
  }
  /* USER CODE END StartTelemetryTask */
}

void StartBatteryTask(void *argument)
{
  /* USER CODE BEGIN StartBatteryTask */
  uint32_t next_wake_tick;
#if BATTERY_MONITOR_ENABLED
  uint32_t next_log_ms;
#endif

  DEBUG_LOG_INFO("batteryTask started");
#if BATTERY_MONITOR_ENABLED
  if (!BatteryMonitor_Init(HAL_GetTick()))
  {
    DEBUG_LOG_ERROR("Battery monitor unavailable; task remains alive for diagnostics");
  }
  next_log_ms = HAL_GetTick() + BATTERY_DEBUG_LOG_PERIOD_MS;
#else
  DEBUG_LOG_WARN(
    "Battery ADC monitoring deferred: batteryTask heartbeat only, no battery telemetry");
#endif
  next_wake_tick = osKernelGetTickCount();
  /* Infinite loop */
  for(;;)
  {
    const uint32_t now_ms = HAL_GetTick();
#if BATTERY_MONITOR_ENABLED
    BatteryMonitorSnapshot battery = { 0 };

    (void)BatteryMonitor_Update(now_ms);
#endif
    if (FaultInjectionTest_ShouldReportHeartbeat(FAULT_MANAGER_TASK_BATTERY))
    {
      FaultManager_Heartbeat(FAULT_MANAGER_TASK_BATTERY, now_ms);
    }
#if BATTERY_MONITOR_ENABLED
    if (((int32_t)(now_ms - next_log_ms) >= 0) &&
        BatteryMonitor_GetSnapshot(&battery))
    {
      DEBUG_LOG_INFO(
        "BAT: raw=%u filtered=%u adc=%umV supply=%umV state=%s samples=%lu errors=%lu",
        (unsigned int)battery.raw_average,
        (unsigned int)battery.filtered_raw,
        (unsigned int)battery.adc_input_mv,
        (unsigned int)battery.supply_mv,
        BatteryMonitor_GetStateName(battery.state),
        (unsigned long)battery.sample_count,
        (unsigned long)battery.adc_error_count);
      next_log_ms = now_ms + BATTERY_DEBUG_LOG_PERIOD_MS;
    }
#endif
    next_wake_tick += BATTERY_SAMPLE_PERIOD_MS;
    (void)osDelayUntil(next_wake_tick);
  }
  /* USER CODE END StartBatteryTask */
}
